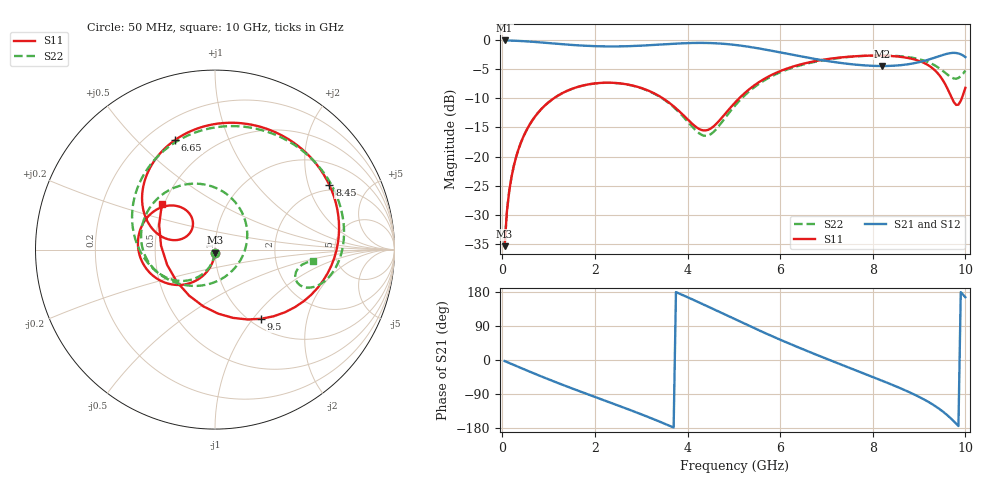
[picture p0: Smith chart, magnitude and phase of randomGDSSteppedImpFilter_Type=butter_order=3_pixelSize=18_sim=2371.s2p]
! freq	dB(S11)	phase(S11)	dB(S12)	phase(S12)
!  dB(S21)	phase(S21)	dB(S22)	phase(S22)
!S-par simulation data
#  GHz  S  DB  R 50
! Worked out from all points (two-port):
!   200 points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, 50 MHz to 10 GHz, reference 50 ohm
!   highest |S21| = -0.01 dB at 50 MHz (marker M1); lowest = -4.4 dB at 8.2 GHz (marker M2)
!   |S21| within 3 dB of the highest: start of sweep to 6.62 GHz; 9.322 GHz to end of sweep
!   lowest |S11| = -35.4 dB at 50 MHz (marker M3), VSWR 1.03, Z = 49.9 - j1.69 ohm
!   |S11| at or under -10 dB: start of sweep to 1.107 GHz; 3.472 GHz to 5.111 GHz (1.639 GHz wide, 38.2 % of centre); 9.711 GHz to 9.92 GHz (208.3 MHz wide, 2.12 % of centre)
!   |S22| runs from -35.4 to -2.6 dB; largest |S21 - S12| = 0
!   S11 on the Smith chart (normalised r, x): 50 MHz: 1.00, -0.03; 6.65 GHz: 0.31, +0.66; 8.45 GHz: 1.79, +2.76; 9.5 GHz: 1.12, -1.10; 10 GHz: 0.49, +0.29
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0.05  -35.44 -92.3  -0.01 -2.7  -0.01 -2.7  -35.44 -92.9
0.1  -29.43 -95.1  -0.01 -5.3  -0.01 -5.3  -29.44 -95.8
0.2  -23.47 -100.2  -0.03 -10.5  -0.03 -10.5  -23.47 -101.7
0.5  -15.83 -114.8  -0.15 -26.1  -0.15 -26.1  -15.83 -118.5
1.1  -10.04 -142.4  -0.52 -55.9  -0.52 -55.9  -10.05 -150.6
1.75  -7.75 -169.6  -0.90 -86.2  -0.90 -86.2  -7.76 176.1
2.6  -7.46 158.1  -1.02 -124.6  -1.02 -124.6  -7.48 131.9
3.4  -9.64 132.1  -0.72 -162.8  -0.72 -162.8  -9.71 82.5
3.9  -12.80 125.6  -0.50 171.2  -0.50 171.2  -13.07 38.3
4.35  -15.51 144.1  -0.43 146.2  -0.43 146.2  -16.40 -31.0
5.05  -10.50 166.7  -0.80 106.0  -0.80 106.0  -11.00 -138.5
5.85  -5.82 142.3  -1.83 61.6  -1.83 61.6  -6.04 157.9
6.65  -3.74 109.9  -3.05 20.4  -3.05 20.4  -3.86 109.0
6.7  -3.65 107.8  -3.12 17.9  -3.12 17.9  -3.78 106.1
7.4  -2.86 78.2  -3.98 -16.0  -3.98 -16.0  -2.91 68.7
8.2  -2.62 41.9  -4.41 -54.5  -4.41 -54.5  -2.59 29.6
8.35  -2.66 34.5  -4.39 -61.9  -4.39 -61.9  -2.61 22.7
8.45  -2.71 29.3  -4.36 -66.9  -4.36 -66.9  -2.64 18.1
9.05  -3.68 -7.8  -3.65 -100.4  -3.65 -100.4  -3.34 -8.2
9.5  -6.68 -56.3  -2.54 -134.7  -2.54 -134.7  -5.17 -22.6
9.75  -10.62 -119.1  -2.14 -161.6  -2.14 -161.6  -6.56 -18.2
10  -8.16 139.2  -2.88 165.6  -2.88 165.6  -5.20 -6.8
